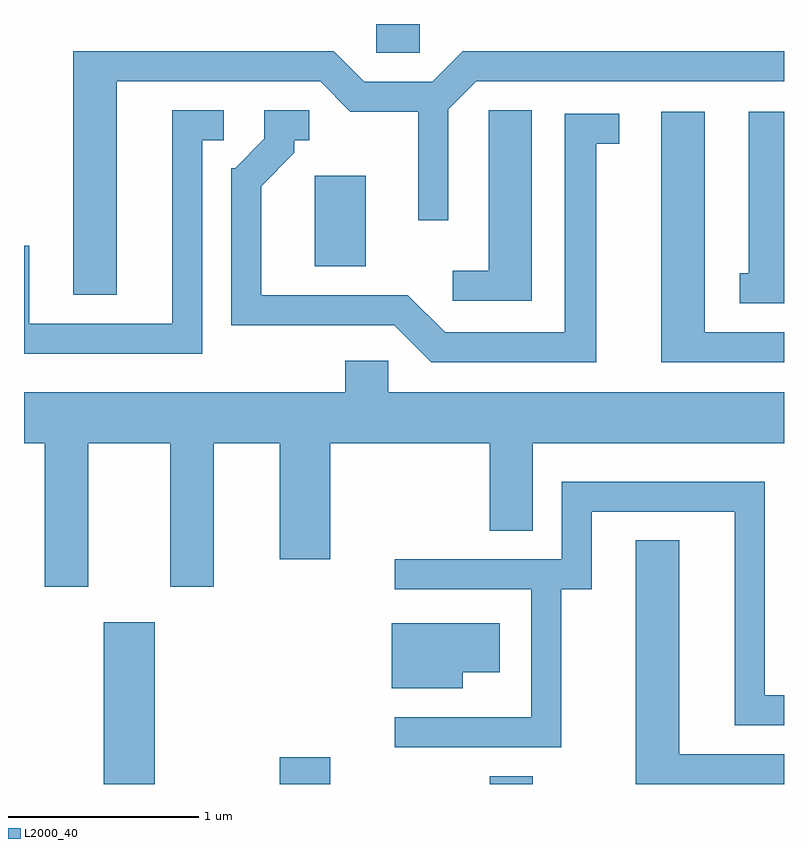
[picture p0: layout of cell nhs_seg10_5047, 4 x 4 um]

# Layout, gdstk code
import gdstk
lib = gdstk.Library(unit=1e-6, precision=1e-09)
def R(c, l, rs):  # rectangles x0, y0, x1, y1
    for r in rs: c.add(gdstk.rectangle(r[:2], r[2:], *l))
def P(c, l, *ps):  # polygons
    for p in ps: c.add(gdstk.Polygon(p, *l))
L2000_40 = (2000, 40)

nhs_seg10_5047 = lib.new_cell('nhs_seg10_5047')
R(nhs_seg10_5047, L2000_40, [(334.031,2156.522,334.299,2157.374), (334.956,2156.522,335.224,2156.664), (336.061,2156.522,336.289,2156.564), (335.141,2159.246,335.409,2159.724), (335.466,2160.371,335.694,2160.522)])
P(nhs_seg10_5047, L2000_40, [(334.099,2160.221),(335.169,2160.221),(335.329,2160.061),(335.686,2160.061),(335.686,2159.488),(335.844,2159.488),(335.844,2160.074),(335.992,2160.221),(337.611,2160.221),(337.611,2160.379),(335.919,2160.379),(335.759,2160.219),(335.402,2160.219),(335.242,2160.379),(333.871,2160.379),(333.871,2159.096),(334.099,2159.096)],
  [(336.624,2159.891),(336.743,2159.891),(336.743,2160.049),(336.456,2160.049),(336.456,2158.899),(335.827,2158.899),(335.632,2159.094),(334.859,2159.094),(334.859,2159.669),(335.034,2159.844),(335.034,2159.911),(335.113,2159.911),(335.113,2160.069),(334.876,2160.069),(334.876,2159.917),(334.724,2159.764),(334.701,2159.764),(334.701,2158.936),(335.559,2158.936),(335.754,2158.741),(336.624,2158.741)],
  [(336.284,2160.069),(336.056,2160.069),(336.056,2159.224),(335.868,2159.224),(335.868,2159.066),(336.284,2159.066)],
  [(334.549,2159.911),(334.663,2159.911),(334.663,2160.069),(334.391,2160.069),(334.391,2158.944),(333.639,2158.944),(333.639,2159.354),(333.611,2159.354),(333.611,2158.786),(334.549,2158.786)],
  [(337.611,2160.059),(337.426,2160.059),(337.426,2159.209),(337.378,2159.209),(337.378,2159.051),(337.611,2159.051)],
  [(337.611,2158.899),(337.194,2158.899),(337.194,2160.059),(336.966,2160.059),(336.966,2158.741),(337.611,2158.741)],
  [(333.949,2158.316),(334.381,2158.316),(334.381,2157.561),(334.609,2157.561),(334.609,2158.316),(334.956,2158.316),(334.956,2157.706),(335.224,2157.706),(335.224,2158.316),(336.061,2158.316),(336.061,2157.856),(336.289,2157.856),(336.289,2158.316),(337.611,2158.316),(337.611,2158.584),(335.529,2158.584),(335.529,2158.749),(335.301,2158.749),(335.301,2158.584),(333.611,2158.584),(333.611,2158.316),(333.721,2158.316),(333.721,2157.561),(333.949,2157.561)],
  [(336.439,2157.546),(336.599,2157.546),(336.599,2157.956),(337.351,2157.956),(337.351,2156.831),(337.611,2156.831),(337.611,2156.989),(337.509,2156.989),(337.509,2158.114),(336.441,2158.114),(336.441,2157.704),(335.563,2157.704),(335.563,2157.546),(336.281,2157.546),(336.281,2156.874),(335.563,2156.874),(335.563,2156.716),(336.439,2156.716)],
  [(337.611,2156.679),(337.059,2156.679),(337.059,2157.804),(336.831,2157.804),(336.831,2156.522),(337.611,2156.522)],
  [(335.919,2157.111),(336.114,2157.111),(336.114,2157.369),(335.546,2157.369),(335.546,2157.026),(335.919,2157.026)])

lib.write_gds('nhs_seg10_5047.gds')
